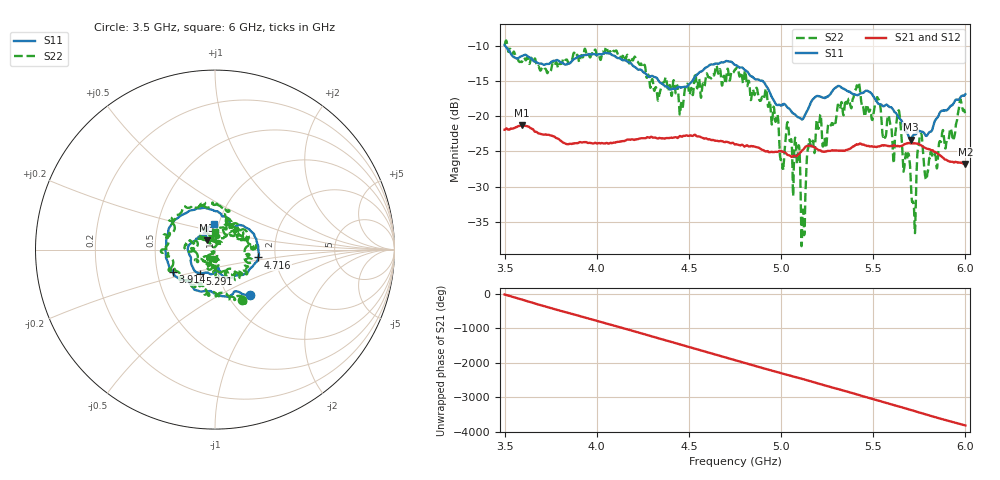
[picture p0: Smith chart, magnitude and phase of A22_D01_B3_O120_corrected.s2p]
! Created with skrf 1.9.0 (http://scikit-rf.org).
# Hz S RI R 50.0
!freq ReS11 ImS11 ReS21 ImS21 ReS12 ImS12 ReS22 ImS22
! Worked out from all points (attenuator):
!   1601 points, 3.5 GHz to 6 GHz, reference 50 ohm
!   highest |S21| = -21.29 dB at 3.592 GHz (marker M1); lowest = -26.8 dB at 6 GHz (marker M2)
!   lowest |S11| = -23.3 dB at 5.703 GHz (marker M3), VSWR 1.15, Z = 45.5 + j4.73 ohm
!   |S11| at or under -10 dB: 3.504 GHz to end of sweep
!   |S22| runs from -38.5 to -9.2 dB; largest |S21 - S12| = 0.0012
!   S11 on the Smith chart (normalised r, x): 3.5 GHz: 1.26, -0.71; 3.914 GHz: 0.60, -0.16; 4.716 GHz: 1.63, -0.15; 5.291 GHz: 0.82, -0.22; 6 GHz: 0.95, +0.28
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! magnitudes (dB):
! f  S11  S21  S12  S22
! 3.5 GHz  -9.9  -21.9  -21.9  -9.9
! 3.592 GHz  -11.5  -21.3  -21.3  -12.3
! 3.914 GHz  -11.5  -23.7  -23.7  -11.4
! 3.917 GHz  -11.5  -23.7  -23.7  -11.3
! 4.334 GHz  -14.9  -23.1  -23.1  -17.6
! 4.716 GHz  -12.2  -23.7  -23.8  -14.1
! 4.75 GHz  -12.7  -24.0  -24.0  -13.4
! 4.927 GHz  -15.9  -24.9  -25.0  -17.9
! 5.005 GHz  -18.4  -25.0  -25.0  -26.7
! 5.036 GHz  -18.8  -25.5  -25.4  -20.8
! 5.088 GHz  -20.1  -25.6  -25.6  -26.7
! 5.119 GHz  -20.3  -24.8  -24.7  -33.3
! 5.167 GHz  -17.8  -24.2  -24.2  -23.9
! 5.291 GHz  -16.0  -24.9  -24.9  -20.9
! 5.416 GHz  -17.0  -24.0  -24.0  -15.8
! 5.584 GHz  -18.6  -24.2  -24.2  -19.9
! 5.639 GHz  -20.2  -24.3  -24.2  -19.2
! 5.703 GHz  -23.3  -23.9  -23.9  -28.8
! 5.72 GHz  -22.6  -23.8  -23.8  -32.8
! 5.753 GHz  -22.1  -24.0  -24.0  -22.9
! 5.789 GHz  -22.8  -24.6  -24.5  -28.9
! 6 GHz  -16.9  -26.8  -26.7  -20.0
